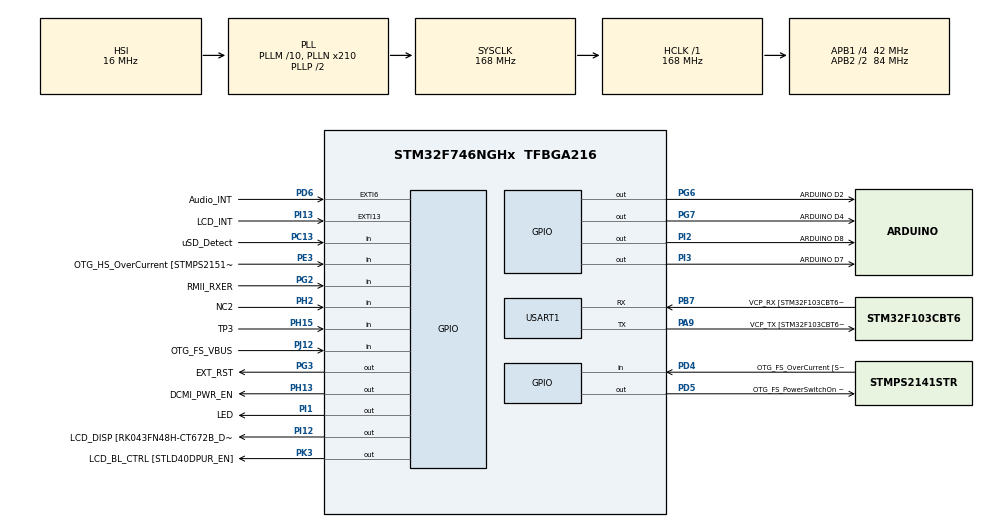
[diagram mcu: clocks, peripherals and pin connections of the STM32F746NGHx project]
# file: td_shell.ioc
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FREERTOS.Tasks01=defaultTask,0,256,StartDefaultTask,Default,NULL,Dynamic,NULL,NULL
Mcu.Family=STM32F7
Mcu.Name=STM32F746NGHx
Mcu.Package=TFBGA216
NVIC.PriorityGroup=NVIC_PRIORITYGROUP_4
NVIC.TIM6_DAC_IRQn=true\:15\:0\:false\:false\:true\:false\:false\:true\:true
NVIC.TimeBase=TIM6_DAC_IRQn
NVIC.TimeBaseIP=TIM6
NVIC.USART1_IRQn=true\:5\:0\:false\:false\:true\:true\:true\:true\:true
PA0/WKUP.GPIO_Label=ARDUINO A0
PA0/WKUP.GPIO_Mode=GPIO_MODE_ANALOG
PA0/WKUP.GPIO_PuPd=GPIO_NOPULL
PA0/WKUP.Signal=ADCx_IN0
PA1.GPIO_Label=RMII_REF_CLK [LAN8742A-CZ-TR_REFCLK0]
PA1.Signal=ETH_REF_CLK
PA10.GPIO_Label=OTG_FS_ID
PA10.Signal=USB_OTG_FS_ID
PA11.GPIO_Label=OTG_FS_N
PA11.Signal=USB_OTG_FS_DM
PA12.GPIO_Label=OTG_FS_P
PA12.Signal=USB_OTG_FS_DP
PA13.GPIO_Label=SWDIO
PA13.Signal=SYS_JTMS-SWDIO
PA14.GPIO_Label=SWCLK
PA14.Signal=SYS_JTCK-SWCLK
PA15.GPIO_Label=ARDUINO PWM/D9
PA15.GPIO_ModeDefaultPP=GPIO_MODE_AF_PP
PA15.GPIO_PuPd=GPIO_NOPULL
PA15.GPIO_Speed=GPIO_SPEED_FREQ_LOW
PA15.Signal=S_TIM2_CH1_ETR
PA2.GPIO_Label=RMII_MDIO [LAN8742A-CZ-TR_MDIO]
PA2.Signal=ETH_MDIO
PA3.GPIO_Label=ULPI_D0 [USB3320C-EZK_D0]
PA3.Signal=USB_OTG_HS_ULPI_D0
PA4.GPIO_Label=DCMI_HSYNC
PA4.Signal=DCMI_HSYNC
PA5.GPIO_Label=ULPI_CLK [USB3320C-EZK_CLKOUT]
PA5.Signal=USB_OTG_HS_ULPI_CK
PA6.Signal=DCMI_PIXCLK
PA7.GPIO_Label=RMII_CRS_DV [LAN8742A-CZ-TR_CRS_DV]
PA7.Signal=ETH_CRS_DV
PA8.GPIO_Label=ARDUINO PWM/D10
PA8.GPIO_ModeDefaultPP=GPIO_MODE_AF_PP
PA8.GPIO_PuPd=GPIO_NOPULL
PA8.GPIO_Speed=GPIO_SPEED_FREQ_LOW
PA8.Signal=S_TIM1_CH1
PA9.GPIO_Label=VCP_TX [STM32F103CBT6_PA3]
PA9.GPIO_Mode=GPIO_MODE_AF_PP
PA9.GPIO_PuPd=GPIO_NOPULL
PA9.GPIO_Speed=GPIO_SPEED_FREQ_LOW
PA9.Mode=Asynchronous
PA9.Signal=USART1_TX
PB0.GPIO_Label=ULPI_D1 [USB3320C-EZK_D1]
PB0.Signal=USB_OTG_HS_ULPI_D1
PB1.GPIO_Label=ULPI_D2 [USB3320C-EZK_D2]
PB1.Signal=USB_OTG_HS_ULPI_D2
PB10.GPIO_Label=ULPI_D3 [USB3320C-EZK_D3]
PB10.Signal=USB_OTG_HS_ULPI_D3
PB11.GPIO_Label=ULPI_D4 [USB3320C-EZK_D4]
PB11.Signal=USB_OTG_HS_ULPI_D4
PB12.GPIO_Label=ULPI_D5 [USB3320C-EZK_D5]
PB12.Signal=USB_OTG_HS_ULPI_D5
PB13.GPIO_Label=ULPI_D6 [USB3320C-EZK_D6]
PB13.Signal=USB_OTG_HS_ULPI_D6
PB14.GPIO_Label=ARDUINO MISO/D12
PB14.GPIO_Mode=GPIO_MODE_AF_PP
PB14.GPIO_PuPd=GPIO_NOPULL
PB14.GPIO_Speed=GPIO_SPEED_FREQ_LOW
PB14.Signal=SPI2_MISO
PB15.GPIO_Label=ARDUINO MOSI/PWM/D11
PB15.GPIO_Mode=GPIO_MODE_AF_PP
PB15.GPIO_PuPd=GPIO_NOPULL
PB15.GPIO_Speed=GPIO_SPEED_FREQ_LOW
PB15.Signal=SPI2_MOSI
PB2.Signal=QUADSPI_CLK
PB3.GPIO_Label=SWO
PB3.Signal=SYS_JTDO-SWO
PB4.GPIO_Label=ARDUINO PWM/D3
PB4.GPIO_ModeDefaultPP=GPIO_MODE_AF_PP
PB4.GPIO_PuPd=GPIO_NOPULL
PB4.GPIO_Speed=GPIO_SPEED_FREQ_LOW
PB4.Signal=S_TIM3_CH1
PB5.GPIO_Label=ULPI_D7 [USB3320C-EZK_D7]
PB5.Signal=USB_OTG_HS_ULPI_D7
PB6.GPIO_Label=QSPI_NCS [N25Q128A13EF840E_S]
PB6.Signal=QUADSPI_BK1_NCS
PB7.GPIO_Label=VCP_RX [STM32F103CBT6_PA2]
PB7.GPIO_Mode=GPIO_MODE_AF_PP
PB7.GPIO_PuPd=GPIO_NOPULL
PB7.GPIO_Speed=GPIO_SPEED_FREQ_LOW
PB7.Mode=Asynchronous
PB7.Signal=USART1_RX
PB8.GPIO_Label=ARDUINO SCL/D15
PB8.GPIO_Mode=GPIO_MODE_AF_OD
PB8.GPIO_PuPd=GPIO_NOPULL
PB8.GPIO_Speed=GPIO_SPEED_FREQ_LOW
PB8.Signal=I2C1_SCL
PB9.GPIO_Label=ARDUINO SDA/D14
PB9.GPIO_Mode=GPIO_MODE_AF_OD
PB9.GPIO_PuPd=GPIO_NOPULL
PB9.GPIO_Speed=GPIO_SPEED_FREQ_LOW
PB9.Signal=I2C1_SDA
PC0.GPIO_Label=ULPI_STP [USB3320C-EZK_STP]
PC0.Signal=USB_OTG_HS_ULPI_STP
PC1.GPIO_Label=RMII_MDC [LAN8742A-CZ-TR_MDC]
PC1.Signal=ETH_MDC
PC10.GPIO_Label=SDMMC_D2
PC10.Signal=SDMMC1_D2
PC11.GPIO_Label=SDMMC_D3
PC11.Signal=SDMMC1_D3
PC12.GPIO_Label=SDMMC_CK
PC12.Signal=SDMMC1_CK
PC13.GPIO_Label=uSD_Detect
PC13.Signal=GPIO_Input
PC14/OSC32_IN.GPIO_Label=RCC_OSC32_IN
PC14/OSC32_IN.Signal=RCC_OSC32_IN
PC15/OSC32_OUT.GPIO_Label=RCC_OSC32_OUT
PC15/OSC32_OUT.Signal=RCC_OSC32_OUT
PC2.GPIO_Label=ULPI_DIR [USB3320C-EZK_DIR]
PC2.Signal=USB_OTG_HS_ULPI_DIR
PC3.GPIO_Label=FMC_SDCKE0 [MT48LC4M32B2B5-6A_CKE]
PC3.Signal=FMC_SDCKE0
PC4.GPIO_Label=RMII_RXD0 [LAN8742A-CZ-TR_RXD0]
PC4.Signal=ETH_RXD0
PC5.GPIO_Label=RMII_RXD1 [LAN8742A-CZ-TR_RXD1]
PC5.Signal=ETH_RXD1
PC6.GPIO_Label=ARDUINO TX/D1
PC6.Signal=USART6_TX
PC7.GPIO_Label=ARDUINO RX/D0
PC7.Signal=USART6_RX
PC8.Signal=SDMMC1_D0
PC9.Signal=SDMMC1_D1
PD0.GPIO_Label=FMC_D2 [MT48LC4M32B2B5-6A_DQ2]
PD0.Signal=FMC_D2_DA2
PD1.GPIO_Label=FMC_D3 [MT48LC4M32B2B5-6A_DQ3]
PD1.Signal=FMC_D3_DA3
PD10.GPIO_Label=FMC_D15 [MT48LC4M32B2B5-6A_DQ15]
PD10.Signal=FMC_D15_DA15
PD11.GPIO_Label=QSPI_D0 [N25Q128A13EF840E_DQ0]
PD11.Signal=QUADSPI_BK1_IO0
PD12.GPIO_Label=QSPI_D1 [N25Q128A13EF840E_DQ1]
PD12.Signal=QUADSPI_BK1_IO1
PD13.GPIO_Label=QSPI_D3 [N25Q128A13EF840E_DQ3]
PD13.Signal=QUADSPI_BK1_IO3
PD14.GPIO_Label=FMC_D0 [MT48LC4M32B2B5-6A_DQ0]
PD14.Signal=FMC_D0_DA0
PD15.GPIO_Label=FMC_D1 [MT48LC4M32B2B5-6A_DQ1]
PD15.Signal=FMC_D1_DA1
PD2.GPIO_Label=SDMMC_D0
PD2.Signal=SDMMC1_CMD
PD3.GPIO_Label=DCMI_D5
PD3.Signal=DCMI_D5
PD4.GPIO_Label=OTG_FS_OverCurrent [STMPS2141STR_Fault]
PD4.Signal=GPIO_Input
PD5.GPIO_Label=OTG_FS_PowerSwitchOn [STMPS2141STR_EN]
PD5.PinState=GPIO_PIN_SET
PD5.Signal=GPIO_Output
PD6.GPIO_Label=Audio_INT
PD6.GPIO_ModeDefaultEXTI=GPIO_MODE_EVT_RISING
PD6.Signal=GPXTI6
PD7.GPIO_Label=SPDIF_RX0 [74LVC1G04SE_4]
PD7.Signal=SPDIFRX_IN0
PD8.GPIO_Label=FMC_D13 [MT48LC4M32B2B5-6A_DQ13]
PD8.Signal=FMC_D13_DA13
PD9.GPIO_Label=FMC_D14 [MT48LC4M32B2B5-6A_DQ14]
PD9.Signal=FMC_D14_DA14
PE0.GPIO_Label=FMC_NBL0 [MT48LC4M32B2B5-6A_DQM0]
PE0.Signal=FMC_NBL0
PE1.GPIO_Label=FMC_NBL1 [MT48LC4M32B2B5-6A_DQM1]
PE1.Signal=FMC_NBL1
PE10.GPIO_Label=FMC_D7 [MT48LC4M32B2B5-6A_DQ7]
PE10.Signal=FMC_D7_DA7
PE11.GPIO_Label=FMC_D8 [MT48LC4M32B2B5-6A_DQ8]
PE11.Signal=FMC_D8_DA8
PE12.GPIO_Label=FMC_D9 [MT48LC4M32B2B5-6A_DQ9]
PE12.Signal=FMC_D9_DA9
PE13.GPIO_Label=FMC_D10 [MT48LC4M32B2B5-6A_DQ10]
PE13.Signal=FMC_D10_DA10
PE14.GPIO_Label=FMC_D11 [MT48LC4M32B2B5-6A_DQ11]
PE14.Signal=FMC_D11_DA11
PE15.GPIO_Label=FMC_D12 [MT48LC4M32B2B5-6A_DQ12]
PE15.Signal=FMC_D12_DA12
PE2.GPIO_Label=QSPI_D2 [N25Q128A13EF840E_DQ2]
PE2.Signal=QUADSPI_BK1_IO2
PE3.GPIO_Label=OTG_HS_OverCurrent [STMPS2151STR_FAULT]
PE3.Signal=GPIO_Input
PE4.GPIO_Label=LCD_B0 [RK043FN48H-CT672B_B0]
PE4.Signal=LTDC_B0
PE5.GPIO_Label=DCMI_D6
PE5.Signal=DCMI_D6
PE6.GPIO_Label=DCMI_D7
PE6.Signal=DCMI_D7
PE7.GPIO_Label=FMC_D4 [MT48LC4M32B2B5-6A_DQ4]
PE7.Signal=FMC_D4_DA4
PE8.GPIO_Label=FMC_D5 [MT48LC4M32B2B5-6A_DQ5]
PE8.Signal=FMC_D5_DA5
PE9.GPIO_Label=FMC_D6 [MT48LC4M32B2B5-6A_DQ6]
PE9.Signal=FMC_D6_DA6
PF0.GPIO_Label=FMC_A0 [MT48LC4M32B2B5-6A_A0]
PF0.Signal=FMC_A0
PF1.GPIO_Label=FMC_A1 [MT48LC4M32B2B5-6A_A1]
PF1.Signal=FMC_A1
PF10.GPIO_Label=ARDUINO A1
PF10.GPIO_Mode=GPIO_MODE_ANALOG
PF10.GPIO_PuPd=GPIO_NOPULL
PF10.Signal=ADC3_IN8
PF11.GPIO_Label=FMC_SDNRAS [MT48LC4M32B2B5-6A_RAS]
PF11.Signal=FMC_SDNRAS
PF12.GPIO_Label=FMC_A6 [MT48LC4M32B2B5-6A_A6]
PF12.Signal=FMC_A6
PF13.GPIO_Label=FMC_A7 [MT48LC4M32B2B5-6A_A7]
PF13.Signal=FMC_A7
PF14.GPIO_Label=FMC_A8 [MT48LC4M32B2B5-6A_A8]
PF14.Signal=FMC_A8
PF15.GPIO_Label=FMC_A9 [MT48LC4M32B2B5-6A_A9]
PF15.Signal=FMC_A9
PF2.GPIO_Label=FMC_A2 [MT48LC4M32B2B5-6A_A2]
PF2.Signal=FMC_A2
PF3.GPIO_Label=FMC_A3 [MT48LC4M32B2B5-6A_A3]
PF3.Signal=FMC_A3
PF4.GPIO_Label=FMC_A4 [MT48LC4M32B2B5-6A_A4]
PF4.Signal=FMC_A4
PF5.GPIO_Label=FMC_A5 [MT48LC4M32B2B5-6A_A5]
PF5.Signal=FMC_A5
PF6.GPIO_Label=ARDUINO A5
PF6.GPIO_Mode=GPIO_MODE_ANALOG
PF6.GPIO_PuPd=GPIO_NOPULL
PF6.Signal=ADC3_IN4
PF7.GPIO_Label=ARDUINO A4
PF7.GPIO_Mode=GPIO_MODE_ANALOG
PF7.GPIO_PuPd=GPIO_NOPULL
PF7.Signal=ADC3_IN5
PF8.GPIO_Label=ARDUINO A3
PF8.GPIO_Mode=GPIO_MODE_ANALOG
PF8.GPIO_PuPd=GPIO_NOPULL
PF8.Signal=ADC3_IN6
PF9.GPIO_Label=ARDUINO A2
PF9.GPIO_Mode=GPIO_MODE_ANALOG
PF9.GPIO_PuPd=GPIO_NOPULL
PF9.Signal=ADC3_IN7
PG0.GPIO_Label=FMC_A10 [MT48LC4M32B2B5-6A_A10]
PG0.Signal=FMC_A10
PG1.GPIO_Label=FMC_A11 [MT48LC4M32B2B5-6A_A11]
PG1.Signal=FMC_A11
PG10.GPIO_Label=SAI2_SDB [WM8994ECS/R_ADCDAT1]
PG10.Signal=SAI2_SD_B
PG11.GPIO_Label=RMII_TX_EN [LAN8742A-CZ-TR_TXEN]
PG11.Signal=ETH_TX_EN
PG12.GPIO_Label=LCD_B4 [RK043FN48H-CT672B_B4]
PG12.Signal=LTDC_B4
PG13.GPIO_Label=RMII_TXD0 [LAN8742A-CZ-TR_TXD0]
PG13.Signal=ETH_TXD0
PG14.GPIO_Label=RMII_TXD1 [LAN8742A-CZ-TR_TXD1]
PG14.Signal=ETH_TXD1
PG15.GPIO_Label=FMC_SDNCAS [MT48LC4M32B2B5-6A_CAS]
PG15.Signal=FMC_SDNCAS
PG2.GPIO_Label=RMII_RXER
PG2.Signal=GPIO_Input
PG3.GPIO_Label=EXT_RST
PG3.Signal=GPIO_Output
PG4.GPIO_Label=FMC_BA0 [MT48LC4M32B2B5-6A_BA0]
PG4.Signal=FMC_A14_BA0
PG5.GPIO_Label=FMC_BA1 [MT48LC4M32B2B5-6A_BA1]
PG5.Signal=FMC_A15_BA1
PG6.GPIO_Label=ARDUINO D2
PG6.Signal=GPIO_Output
PG7.GPIO_Label=ARDUINO D4
PG7.Signal=GPIO_Output
PG8.GPIO_Label=FMC_SDCLK [MT48LC4M32B2B5-6A_CLK]
PG8.Signal=FMC_SDCLK
PG9.GPIO_Label=DCMI_VSYNC
PG9.Signal=DCMI_VSYNC
PH0/OSC_IN.GPIO_Label=OSC_25M [NZ2520SB-25.00M_OUT]
PH0/OSC_IN.Signal=RCC_OSC_IN
PH1/OSC_OUT.Signal=RCC_OSC_OUT
PH10.GPIO_Label=DCMI_D1
PH10.Signal=DCMI_D1
PH11.GPIO_Label=DCMI_D2
PH11.Signal=DCMI_D2
PH12.GPIO_Label=DCMI_D3
PH12.Signal=DCMI_D3
PH13.GPIO_Label=DCMI_PWR_EN
PH13.Signal=GPIO_Output
PH14.GPIO_Label=DCMI_D4
PH14.Signal=DCMI_D4
PH15.GPIO_Label=TP3
PH15.Signal=GPIO_Input
PH2.GPIO_Label=NC2
PH2.Signal=GPIO_Input
PH3.GPIO_Label=FMC_SDNE0 [MT48LC4M32B2B5-6A_CS]
PH3.Signal=FMC_SDNE0
PH4.GPIO_Label=ULPI_NXT [USB3320C-EZK_NXT]
PH4.Signal=USB_OTG_HS_ULPI_NXT
PH5.GPIO_Label=FMC_SDNME [MT48LC4M32B2B5-6A_WE]
PH5.Signal=FMC_SDNWE
PH6.GPIO_Label=ARDUINO PWM/D6
PH6.Signal=S_TIM12_CH1
PH7.GPIO_Label=LCD_SCL [RK043FN48H-CT672B_SCL]
PH7.Signal=I2C3_SCL
PH8.GPIO_Label=LCD_SDA [RK043FN48H-CT672B_SDA]
PH8.Signal=I2C3_SDA
PH9.GPIO_Label=DCMI_D0
PH9.Signal=DCMI_D0
PI0.GPIO_Label=ARDUINO PWM/CS/D5
PI0.GPIO_ModeDefaultPP=GPIO_MODE_AF_PP
PI0.GPIO_PuPd=GPIO_NOPULL
PI0.GPIO_Speed=GPIO_SPEED_FREQ_LOW
PI0.Signal=S_TIM5_CH4
PI1.GPIO_Label=LED
PI1.Signal=GPIO_Output
PI10.GPIO_Label=LCD_HSYNC [RK043FN48H-CT672B_HSYNC]
PI10.Signal=LTDC_HSYNC
PI12.GPIO_Label=LCD_DISP [RK043FN48H-CT672B_DISP] 
PI12.Signal=GPIO_Output
PI13.GPIO_Label=LCD_INT
PI13.GPIO_ModeDefaultEXTI=GPIO_MODE_EVT_RISING
PI13.Signal=GPXTI13
PI14.GPIO_Label=LCD_CLK [RK043FN48H-CT672B_CLK]
PI14.Signal=LTDC_CLK
PI15.GPIO_Label=LCD_R0 [RK043FN48H-CT672B_R0]
PI15.Signal=LTDC_R0
PI2.GPIO_Label=ARDUINO D8
PI2.Signal=GPIO_Output
PI3.GPIO_Label=ARDUINO D7
PI3.Signal=GPIO_Output
PI4.GPIO_Label=SAI2_MCLKA [WM8994ECS/R_MCLK1]
PI4.Signal=SAI2_MCLK_A
PI5.GPIO_Label=SAI2_SCKA [WM8994ECS/R_BCLK1]
PI5.Signal=SAI2_SCK_A
PI6.GPIO_Label=SAI2_SDA [WM8994ECS/R_DACDAT1]
PI6.Signal=SAI2_SD_A
PI7.GPIO_Label=SAI2_FSA [WM8994ECS/R_LRCLK1]
PI7.Signal=SAI2_FS_A
PI8.GPIO_Label=NC1 [TP2]
PI8.Signal=RTC_TS
PI9.GPIO_Label=LCD_VSYNC [RK043FN48H-CT672B_VSYNC]
PI9.Signal=LTDC_VSYNC
PJ0.GPIO_Label=LCD_R1 [RK043FN48H-CT672B_R1]
PJ0.Signal=LTDC_R1
PJ1.GPIO_Label=LCD_R2 [RK043FN48H-CT672B_R2]
PJ1.Signal=LTDC_R2
PJ10.GPIO_Label=LCD_G3 [RK043FN48H-CT672B_G3]
PJ10.Signal=LTDC_G3
PJ11.GPIO_Label=LCD_G4 [RK043FN48H-CT672B_G4]
PJ11.Signal=LTDC_G4
PJ12.GPIO_Label=OTG_FS_VBUS
PJ12.Signal=GPIO_Input
PJ13.GPIO_Label=LCD_B1 [RK043FN48H-CT672B_B1]
PJ13.Signal=LTDC_B1
PJ14.GPIO_Label=LCD_B2 [RK043FN48H-CT672B_B2]
PJ14.Signal=LTDC_B2
PJ15.GPIO_Label=LCD_B3 [RK043FN48H-CT672B_B3]
PJ15.Signal=LTDC_B3
PJ2.GPIO_Label=LCD_R3 [RK043FN48H-CT672B_R3]
PJ2.Signal=LTDC_R3
PJ3.GPIO_Label=LCD_R4 [RK043FN48H-CT672B_R4]
PJ3.Signal=LTDC_R4
PJ4.GPIO_Label=LCD_R5 [RK043FN48H-CT672B_R5]
PJ4.Signal=LTDC_R5
PJ5.GPIO_Label=LCD_R6 [RK043FN48H-CT672B_R6]
PJ5.Signal=LTDC_R6
PJ6.GPIO_Label=LCD_R7 [RK043FN48H-CT672B_R7]
PJ6.Signal=LTDC_R7
PJ7.GPIO_Label=LCD_G0 [RK043FN48H-CT672B_G0]
PJ7.Signal=LTDC_G0
PJ8.GPIO_Label=LCD_G1 [RK043FN48H-CT672B_G1]
PJ8.Signal=LTDC_G1
PJ9.GPIO_Label=LCD_G2 [RK043FN48H-CT672B_G2]
PJ9.Signal=LTDC_G2
PK0.GPIO_Label=LCD_G5 [RK043FN48H-CT672B_G5]
PK0.Signal=LTDC_G5
PK1.GPIO_Label=LCD_G6 [RK043FN48H-CT672B_G6]
PK1.Signal=LTDC_G6
PK2.GPIO_Label=LCD_G7 [RK043FN48H-CT672B_G7]
PK2.Signal=LTDC_G7
PK3.GPIO_Label=LCD_BL_CTRL [STLD40DPUR_EN]
PK3.Signal=GPIO_Output
PK4.GPIO_Label=LCD_B5 [RK043FN48H-CT672B_B5]
PK4.Signal=LTDC_B5
PK5.GPIO_Label=LCD_B6 [RK043FN48H-CT672B_B6]
PK5.Signal=LTDC_B6
PK6.GPIO_Label=LCD_B7 [RK043FN48H-CT672B_B7]
PK6.Signal=LTDC_B7
PK7.GPIO_Label=LCD_DE [RK043FN48H-CT672B_DE]
PK7.Signal=LTDC_DE
ProjectManager.HeapSize=0x200
ProjectManager.StackSize=0x400
ProjectManager.TargetToolchain=CMake
RCC.AHBFreq_Value=168000000
RCC.APB1CLKDivider=RCC_HCLK_DIV4
RCC.APB1Freq_Value=42000000
RCC.APB1TimFreq_Value=84000000
RCC.APB2CLKDivider=RCC_HCLK_DIV2
RCC.APB2Freq_Value=84000000
RCC.APB2TimFreq_Value=168000000
RCC.CortexFreq_Value=168000000
RCC.HCLKFreq_Value=168000000
RCC.HSE_VALUE=25000000
RCC.HSI_VALUE=16000000
RCC.LSE_VALUE=32768
RCC.PLLM=10
RCC.PLLN=210
RCC.PLLSourceVirtual=RCC_PLLSOURCE_HSI
RCC.SYSCLKFreq_VALUE=168000000
RCC.SYSCLKSource=RCC_SYSCLKSOURCE_PLLCLK
RCC.USBFreq_Value=168000000
RCC.VCOOutputFreq_Value=336000000
SH.ADCx_IN0.0=ADC3_IN0
SH.FMC_A0.0=FMC_A0
SH.FMC_A1.0=FMC_A1
SH.FMC_A10.0=FMC_A10
SH.FMC_A11.0=FMC_A11
SH.FMC_A14_BA0.0=FMC_BA0
SH.FMC_A15_BA1.0=FMC_BA1
SH.FMC_A2.0=FMC_A2
SH.FMC_A3.0=FMC_A3
SH.FMC_A4.0=FMC_A4
SH.FMC_A5.0=FMC_A5
SH.FMC_A6.0=FMC_A6
SH.FMC_A7.0=FMC_A7
SH.FMC_A8.0=FMC_A8
SH.FMC_A9.0=FMC_A9
SH.FMC_D0_DA0.0=FMC_D0
SH.FMC_D10_DA10.0=FMC_D10
SH.FMC_D11_DA11.0=FMC_D11
SH.FMC_D12_DA12.0=FMC_D12
SH.FMC_D13_DA13.0=FMC_D13
SH.FMC_D14_DA14.0=FMC_D14
SH.FMC_D15_DA15.0=FMC_D15
SH.FMC_D1_DA1.0=FMC_D1
SH.FMC_D2_DA2.0=FMC_D2
SH.FMC_D3_DA3.0=FMC_D3
SH.FMC_D4_DA4.0=FMC_D4
SH.FMC_D5_DA5.0=FMC_D5
SH.FMC_D6_DA6.0=FMC_D6
SH.FMC_D7_DA7.0=FMC_D7
SH.FMC_D8_DA8.0=FMC_D8
SH.FMC_D9_DA9.0=FMC_D9
SH.FMC_NBL0.0=FMC_NBL0
SH.FMC_NBL1.0=FMC_NBL1
SH.FMC_SDCLK.0=FMC_SDCLK
SH.FMC_SDNCAS.0=FMC_SDNCAS
SH.FMC_SDNRAS.0=FMC_SDNRAS
SH.FMC_SDNWE.0=FMC_SDNWE
SH.S_TIM12_CH1.0=TIM12_CH1
SH.S_TIM1_CH1.0=TIM1_CH1
SH.S_TIM2_CH1_ETR.0=TIM2_CH1
SH.S_TIM3_CH1.0=TIM3_CH1
SH.S_TIM5_CH4.0=TIM5_CH4
USART1.VirtualMode-Asynchronous=VM_ASYNC
VP_FREERTOS_VS_CMSIS_V1.Mode=CMSIS_V1
VP_SYS_VS_tim6.Mode=TIM6
board=STM32F746G-DISCO

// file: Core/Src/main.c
/* USER CODE BEGIN Header */
/**
 ******************************************************************************
 * @file           : main.c
 * @brief          : Main program body
 ******************************************************************************
 * @attention
 *
 * Copyright (c) 2026 STMicroelectronics.
 * All rights reserved.
 *
 * This software is licensed under terms that can be found in the LICENSE file
 * in the root directory of this software component.
 * If no LICENSE file comes with this software, it is provided AS-IS.
 *
 ******************************************************************************
 */
/* USER CODE END Header */
#include "main.h"
#include "cmsis_os.h"
#include "usart.h"
#include "gpio.h"

/* USER CODE BEGIN Includes */
#include <stdio.h>
#include <stdlib.h>
#include "shell.h"
/* USER CODE END Includes */

void SystemClock_Config(void);
void MX_FREERTOS_Init(void);

/* USER CODE BEGIN 0 */
int __io_putchar(int ch)
{
	HAL_UART_Transmit(&huart1, (uint8_t *)&ch, 1, HAL_MAX_DELAY);
	return ch;
}

void HAL_UART_RxCpltCallback(UART_HandleTypeDef *huart)
{
	if (huart->Instance == USART1)
	{
		shell_rx_callback();
	}
}

int fonction(int argc, char ** argv)
{
	printf("Je suis une fonction\r\n");

	printf("argc = %d\r\n", argc);

	for (int i = 0 ; i < argc ; i++)
	{
		printf("argv[%d] = %s\r\n", i, argv[i]);
	}

	return 0;
}

int addition(int argc, char ** argv)
{
	if (argc == 3)	// Deux arguments + le nom de la fonction
	{
		int a = atoi(argv[1]);	// atoi = ASCII to Integer
		int b = atoi(argv[2]);

		printf("%d + %d = %d\r\n", a, b, a+b);

		return 0;
	}
	else
	{
		printf("Usage : %s <arg1> <arg2>\r\n", argv[0]);
		return -1;
	}
}

void task_shell(void * unused)
{
	shell_init();
	shell_add('f', *fonction, "Une fonction");
	shell_add('a', *addition, "Addition");
	shell_run();
	// shell_run = boucle infinie, on ne sort pas de la tache
	// Rappel : il est interdit de sortir d'une tache!
}

/* USER CODE END 0 */

int main(void)
{

  /* MCU Configuration--------------------------------------------------------*/

  /* Reset of all peripherals, Initializes the Flash interface and the Systick. */
  HAL_Init();

  /* Configure the system clock */
  SystemClock_Config();

  /* Initialize all configured peripherals */
  MX_GPIO_Init();
  MX_USART1_UART_Init();
  /* USER CODE BEGIN 2 */
#define TASK_SHELL_STACK_DEPTH 512
#define TASK_SHELL_PRIORITY 1
	xTaskCreate (
			task_shell,
			"Shell",
			TASK_SHELL_STACK_DEPTH,
			NULL,
			TASK_SHELL_PRIORITY,
			NULL
	);

	vTaskStartScheduler();
  /* USER CODE END 2 */

  /* Call init function for freertos objects (in cmsis_os2.c) */
  MX_FREERTOS_Init();

  /* Start scheduler */
  osKernelStart();

  /* We should never get here as control is now taken by the scheduler */

  /* Infinite loop */
	while (1)
	{

	}
}

void SystemClock_Config(void)
{
  RCC_OscInitTypeDef RCC_OscInitStruct = {0};
  RCC_ClkInitTypeDef RCC_ClkInitStruct = {0};

  /** Configure the main internal regulator output voltage
  */
  __HAL_RCC_PWR_CLK_ENABLE();
  __HAL_PWR_VOLTAGESCALING_CONFIG(PWR_REGULATOR_VOLTAGE_SCALE2);

  /** Initializes the RCC Oscillators according to the specified parameters
  * in the RCC_OscInitTypeDef structure.
  */
  RCC_OscInitStruct.OscillatorType = RCC_OSCILLATORTYPE_HSI;
  RCC_OscInitStruct.HSIState = RCC_HSI_ON;
  RCC_OscInitStruct.HSICalibrationValue = RCC_HSICALIBRATION_DEFAULT;
  RCC_OscInitStruct.PLL.PLLState = RCC_PLL_ON;
  RCC_OscInitStruct.PLL.PLLSource = RCC_PLLSOURCE_HSI;
  RCC_OscInitStruct.PLL.PLLM = 10;
  RCC_OscInitStruct.PLL.PLLN = 210;
  RCC_OscInitStruct.PLL.PLLP = RCC_PLLP_DIV2;
  RCC_OscInitStruct.PLL.PLLQ = 2;
  if (HAL_RCC_OscConfig(&RCC_OscInitStruct) != HAL_OK)
  {
    Error_Handler();
  }

  /** Initializes the CPU, AHB and APB buses clocks
  */
  RCC_ClkInitStruct.ClockType = RCC_CLOCKTYPE_HCLK|RCC_CLOCKTYPE_SYSCLK
                              |RCC_CLOCKTYPE_PCLK1|RCC_CLOCKTYPE_PCLK2;
  RCC_ClkInitStruct.SYSCLKSource = RCC_SYSCLKSOURCE_PLLCLK;
  RCC_ClkInitStruct.AHBCLKDivider = RCC_SYSCLK_DIV1;
  RCC_ClkInitStruct.APB1CLKDivider = RCC_HCLK_DIV4;
  RCC_ClkInitStruct.APB2CLKDivider = RCC_HCLK_DIV2;

  if (HAL_RCC_ClockConfig(&RCC_ClkInitStruct, FLASH_LATENCY_5) != HAL_OK)
  {
    Error_Handler();
  }
}

void HAL_TIM_PeriodElapsedCallback(TIM_HandleTypeDef *htim)
{
  if (htim->Instance == TIM6)
  {
    HAL_IncTick();
  }
}

void Error_Handler(void)
{
	__disable_irq();
	while (1)
	{
	}
}
